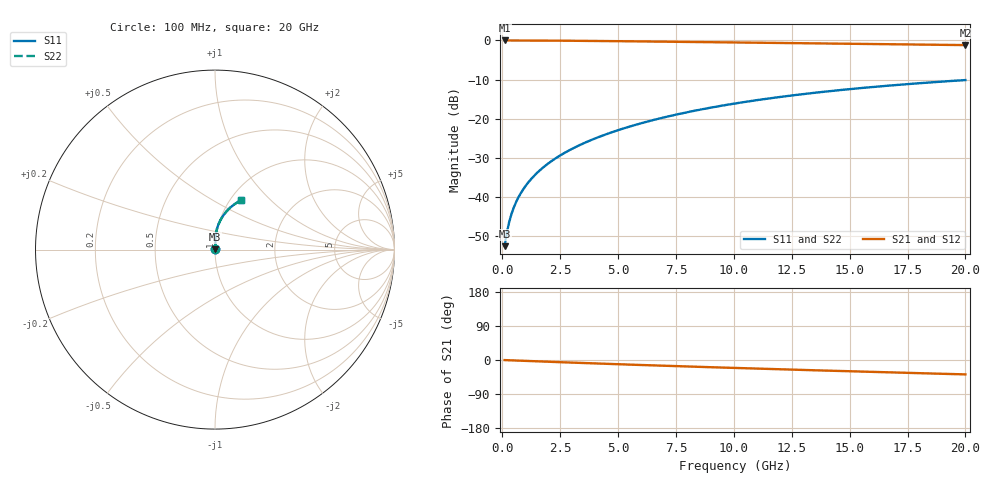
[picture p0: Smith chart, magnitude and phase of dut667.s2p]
! Touchstone file exported from HFSS 2024.1.0
!  File:  C:/UserFiles/LocalFiles/RDL_TSV_Batchsim/temp_RDL_bottom_667_1779786009.aedt
!  Generated:  05:02:33 PM May 26, 2026
!  Design:  RDL_bottom
!  Project:  temp_RDL_bottom_667_1779786009
!  Setup:  Setup1
!  Solution:  Sweep
! Variables:
!  dtsv = 10.80580581um
!  hbump = 3um
!  htsv = 86.54um
!  ldown = 560.16um
!  lrdl = 100um
!  p = 40
!  p1 = 51.1um
!  rhole = 1um
!  t = 450um
!  tdown = 4.83um
!  trdl = 3.915915916um
!  wdown = 25.45um
!  wrdl = 20um
# GHz S MA R 50.000000
! Terminal data exported
! Port[1] = RDL1_T1
! Port[2] = RDL1_T2
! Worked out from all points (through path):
!   200 points, 100 MHz to 20 GHz, reference 50 ohm
!   highest |S21| = -0.02 dB at 100 MHz (marker M1); lowest = -1.2 dB at 20 GHz (marker M2)
!   group delay of S21, straight-line fit = 5.21 ps
!   lowest |S11| = -52.5 dB at 100 MHz (marker M3), VSWR 1.00, Z = 50.2 + j0.153 ohm
!   |S11| at or under -10 dB: start of sweep to end of sweep
!   |S22| runs from -52.5 to -10.1 dB; largest |S21 - S12| = 4.6e-15
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0.1  0.002365 40.0  0.9982 -0.2  0.9982 -0.2  0.002365 40.0
! Gamma 0 0 0 0
! Port Impedance 50 0 50 0
0.2  0.003555 57.2  0.998 -0.5  0.998 -0.5  0.003555 57.2
0.3  0.004847 64.9  0.9978 -0.7  0.9978 -0.7  0.004847 64.9
0.4  0.006136 69.3  0.9977 -1.0  0.9977 -1.0  0.006136 69.3
0.5  0.007411 72.2  0.9975 -1.2  0.9975 -1.2  0.007412 72.2
0.6  0.008681 74.4  0.9973 -1.4  0.9973 -1.4  0.008681 74.4
0.8  0.01123 77.6  0.997 -1.9  0.997 -1.9  0.01123 77.6
1.1  0.01509 80.7  0.9964 -2.6  0.9964 -2.6  0.01509 80.7
1.3  0.01771 82.1  0.9959 -3.0  0.9959 -3.0  0.01771 82.1
1.6  0.02169 83.7  0.9951 -3.7  0.9951 -3.7  0.02169 83.7
2.1  0.02847 85.4  0.9933 -4.9  0.9933 -4.9  0.02847 85.4
2.7  0.03684 86.6  0.9908 -6.2  0.9908 -6.2  0.03684 86.6
3.5  0.04844 87.4  0.9866 -8.0  0.9866 -8.0  0.04843 87.4
4.2  0.05899 87.5  0.9825 -9.5  0.9825 -9.5  0.05898 87.5
5  0.07148 87.3  0.9773 -11.2  0.9773 -11.2  0.07147 87.3
6.8  0.101 85.7  0.9648 -14.8  0.9648 -14.8  0.101 85.7
8.4  0.1282 83.4  0.9532 -17.9  0.9532 -17.9  0.1282 83.4
10.1  0.1575 80.5  0.9409 -21.1  0.9409 -21.1  0.1575 80.5
11.7  0.1848 77.6  0.9294 -24.0  0.9294 -24.0  0.1847 77.6
13.4  0.213 74.3  0.9173 -27.0  0.9173 -27.0  0.213 74.3
16.7  0.2648 68.0  0.894 -32.6  0.894 -32.6  0.2648 68.1
20  0.3118 62.0  0.871 -38.0  0.871 -38.0  0.3117 62.1
